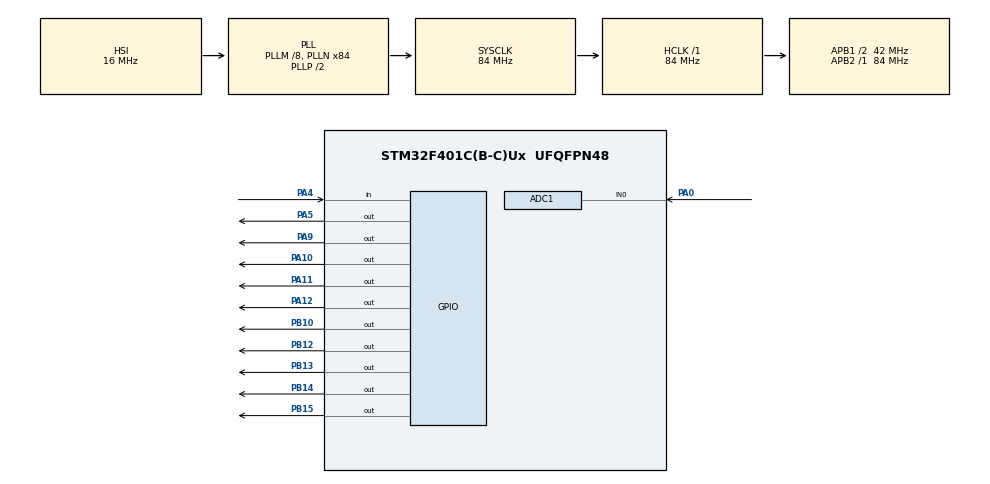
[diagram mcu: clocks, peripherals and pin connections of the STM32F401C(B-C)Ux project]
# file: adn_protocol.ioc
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ADC1.Channel-0\#ChannelRegularConversion=ADC_CHANNEL_0
ADC1.ContinuousConvMode=ENABLE
ADC1.NbrOfConversion=1
ADC1.NbrOfConversionFlag=1
ADC1.Rank-0\#ChannelRegularConversion=1
ADC1.SamplingTime-0\#ChannelRegularConversion=ADC_SAMPLETIME_15CYCLES
ADC1.master=1
Dma.ADC1.0.Direction=DMA_PERIPH_TO_MEMORY
Dma.ADC1.0.FIFOMode=DMA_FIFOMODE_DISABLE
Dma.ADC1.0.Instance=DMA2_Stream0
Dma.ADC1.0.MemDataAlignment=DMA_MDATAALIGN_HALFWORD
Dma.ADC1.0.MemInc=DMA_MINC_ENABLE
Dma.ADC1.0.Mode=DMA_NORMAL
Dma.ADC1.0.PeriphDataAlignment=DMA_PDATAALIGN_HALFWORD
Dma.ADC1.0.PeriphInc=DMA_PINC_DISABLE
Dma.ADC1.0.Priority=DMA_PRIORITY_VERY_HIGH
Dma.Request0=ADC1
Mcu.Family=STM32F4
Mcu.Name=STM32F401C(B-C)Ux
Mcu.Package=UFQFPN48
NVIC.DMA2_Stream0_IRQn=true\:0\:0\:false\:false\:true\:false\:true\:true
NVIC.PriorityGroup=NVIC_PRIORITYGROUP_4
PA0-WKUP.Signal=ADCx_IN0
PA10.Signal=GPIO_Output
PA11.Signal=GPIO_Output
PA12.Signal=GPIO_Output
PA4.Signal=GPIO_Input
PA5.Signal=GPIO_Output
PA9.Signal=GPIO_Output
PB10.Signal=GPIO_Output
PB12.Signal=GPIO_Output
PB13.Signal=GPIO_Output
PB14.Signal=GPIO_Output
PB15.Signal=GPIO_Output
ProjectManager.HeapSize=0x200
ProjectManager.StackSize=0x400
ProjectManager.TargetToolchain=STM32CubeIDE
RCC.48MHZClocksFreq_Value=42000000
RCC.AHBFreq_Value=84000000
RCC.APB1CLKDivider=RCC_HCLK_DIV2
RCC.APB1Freq_Value=42000000
RCC.APB1TimFreq_Value=84000000
RCC.APB2Freq_Value=84000000
RCC.APB2TimFreq_Value=84000000
RCC.CortexFreq_Value=84000000
RCC.HCLKFreq_Value=84000000
RCC.HSE_VALUE=25000000
RCC.HSI_VALUE=16000000
RCC.LSE_VALUE=32768
RCC.PLLM=8
RCC.PLLN=84
RCC.SYSCLKFreq_VALUE=84000000
RCC.SYSCLKSource=RCC_SYSCLKSOURCE_PLLCLK
RCC.VCOOutputFreq_Value=168000000
SH.ADCx_IN0.0=ADC1_IN0,IN0
board=custom

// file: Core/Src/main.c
/* USER CODE BEGIN Header */
/**
  ******************************************************************************
  * @file           : main.c
  * @brief          : Main program body
  ******************************************************************************
  * @attention
  *
  * Copyright (c) 2025 STMicroelectronics.
  * All rights reserved.
  *
  * This software is licensed under terms that can be found in the LICENSE file
  * in the root directory of this software component.
  * If no LICENSE file comes with this software, it is provided AS-IS.
  *
  ******************************************************************************
  */
/* USER CODE END Header */
#include "main.h"

ADC_HandleTypeDef hadc1;
DMA_HandleTypeDef hdma_adc1;

/* USER CODE BEGIN PV */
int state = 0;
#define GPIO_READ_PIN(GPIOx, pin) ((GPIOx->IDR & (pin)) ? GPIO_PIN_SET : GPIO_PIN_RESET)
/* USER CODE END PV */

void SystemClock_Config(void);
static void MX_GPIO_Init(void);
static void MX_DMA_Init(void);
static void MX_ADC1_Init(void);

/* USER CODE BEGIN 0 */

uint16_t counter = 0;
#define BUF_SIZE 16384
uint16_t adc_buffer[BUF_SIZE];

void GPIO_WritePin_BSRR(GPIO_TypeDef* GPIOx, uint16_t pin, GPIO_PinState state)
{
    if(state == GPIO_PIN_SET)
    {
        // Set pin high by writing to lower 16 bits of BSRR
        GPIOx->BSRR = pin;
    }
    else
    {
        // Set pin low by writing to upper 16 bits of BSRR
        GPIOx->BSRR = (uint32_t)pin << 16;
    }
}
void Parallel_Send_Byte(uint8_t data) {
  // Write each bit to corresponding pin
  while(GPIO_READ_PIN(GPIOA, GPIO_PIN_4)==GPIO_PIN_RESET){

  }

	  HAL_GPIO_WritePin(GPIOB, GPIO_PIN_12, (data & 0x01) ? GPIO_PIN_SET : GPIO_PIN_RESET);
	  HAL_GPIO_WritePin(GPIOB, GPIO_PIN_13, (data & 0x02) ? GPIO_PIN_SET : GPIO_PIN_RESET);
	  HAL_GPIO_WritePin(GPIOB, GPIO_PIN_14, (data & 0x04) ? GPIO_PIN_SET : GPIO_PIN_RESET);
	  HAL_GPIO_WritePin(GPIOB, GPIO_PIN_15, (data & 0x08) ? GPIO_PIN_SET : GPIO_PIN_RESET);
	  HAL_GPIO_WritePin(GPIOA, GPIO_PIN_9, (data & 0x10) ? GPIO_PIN_SET : GPIO_PIN_RESET);
	  HAL_GPIO_WritePin(GPIOA, GPIO_PIN_10, (data & 0x20) ? GPIO_PIN_SET : GPIO_PIN_RESET);
	  HAL_GPIO_WritePin(GPIOA, GPIO_PIN_11, (data & 0x40) ? GPIO_PIN_SET : GPIO_PIN_RESET);
	  HAL_GPIO_WritePin(GPIOA, GPIO_PIN_12, (data & 0x80) ? GPIO_PIN_SET : GPIO_PIN_RESET);
	  HAL_GPIO_WritePin(GPIOA, GPIO_PIN_5,SET);
	  while(GPIO_READ_PIN(GPIOA, GPIO_PIN_4)==GPIO_PIN_SET){}
	  HAL_GPIO_WritePin(GPIOA, GPIO_PIN_5,RESET);

}
void send16(uint16_t data){
	HAL_GPIO_WritePin(GPIOB, GPIO_PIN_10, SET);
	Parallel_Send_Byte(data>>8);
	HAL_GPIO_WritePin(GPIOB, GPIO_PIN_10, RESET);
	Parallel_Send_Byte(data);
}

void HAL_ADC_ConvCpltCallback(ADC_HandleTypeDef* hadc) {
  if (hadc == &hadc1) {
	 for(int i =0; i < BUF_SIZE;i++){
		  send16(adc_buffer[i]);
	 }

	 HAL_ADC_Start_DMA(&hadc1, (uint32_t*)adc_buffer, BUF_SIZE);
  }
}
/* USER CODE END 0 */

int main(void)
{

  /* MCU Configuration--------------------------------------------------------*/

  /* Reset of all peripherals, Initializes the Flash interface and the Systick. */
  HAL_Init();

  /* Configure the system clock */
  SystemClock_Config();

  /* Initialize all configured peripherals */
  MX_GPIO_Init();
  MX_DMA_Init();
  MX_ADC1_Init();

  /* Infinite loop */
  /* USER CODE BEGIN WHILE */
  HAL_ADC_Start_DMA(&hadc1, (uint32_t*)adc_buffer, BUF_SIZE);

  while (1)
  {
    /* USER CODE END WHILE */

  }
}

void SystemClock_Config(void)
{
  RCC_OscInitTypeDef RCC_OscInitStruct = {0};
  RCC_ClkInitTypeDef RCC_ClkInitStruct = {0};

  /** Configure the main internal regulator output voltage
  */
  __HAL_RCC_PWR_CLK_ENABLE();
  __HAL_PWR_VOLTAGESCALING_CONFIG(PWR_REGULATOR_VOLTAGE_SCALE2);

  /** Initializes the RCC Oscillators according to the specified parameters
  * in the RCC_OscInitTypeDef structure.
  */
  RCC_OscInitStruct.OscillatorType = RCC_OSCILLATORTYPE_HSI;
  RCC_OscInitStruct.HSIState = RCC_HSI_ON;
  RCC_OscInitStruct.HSICalibrationValue = RCC_HSICALIBRATION_DEFAULT;
  RCC_OscInitStruct.PLL.PLLState = RCC_PLL_ON;
  RCC_OscInitStruct.PLL.PLLSource = RCC_PLLSOURCE_HSI;
  RCC_OscInitStruct.PLL.PLLM = 8;
  RCC_OscInitStruct.PLL.PLLN = 84;
  RCC_OscInitStruct.PLL.PLLP = RCC_PLLP_DIV2;
  RCC_OscInitStruct.PLL.PLLQ = 4;
  if (HAL_RCC_OscConfig(&RCC_OscInitStruct) != HAL_OK)
  {
    Error_Handler();
  }

  /** Initializes the CPU, AHB and APB buses clocks
  */
  RCC_ClkInitStruct.ClockType = RCC_CLOCKTYPE_HCLK|RCC_CLOCKTYPE_SYSCLK
                              |RCC_CLOCKTYPE_PCLK1|RCC_CLOCKTYPE_PCLK2;
  RCC_ClkInitStruct.SYSCLKSource = RCC_SYSCLKSOURCE_PLLCLK;
  RCC_ClkInitStruct.AHBCLKDivider = RCC_SYSCLK_DIV1;
  RCC_ClkInitStruct.APB1CLKDivider = RCC_HCLK_DIV2;
  RCC_ClkInitStruct.APB2CLKDivider = RCC_HCLK_DIV1;

  if (HAL_RCC_ClockConfig(&RCC_ClkInitStruct, FLASH_LATENCY_2) != HAL_OK)
  {
    Error_Handler();
  }
}

static void MX_ADC1_Init(void)
{

  ADC_ChannelConfTypeDef sConfig = {0};

  /** Configure the global features of the ADC (Clock, Resolution, Data Alignment and number of conversion)
  */
  hadc1.Instance = ADC1;
  hadc1.Init.ClockPrescaler = ADC_CLOCK_SYNC_PCLK_DIV4;
  hadc1.Init.Resolution = ADC_RESOLUTION_12B;
  hadc1.Init.ScanConvMode = DISABLE;
  hadc1.Init.ContinuousConvMode = ENABLE;
  hadc1.Init.DiscontinuousConvMode = DISABLE;
  hadc1.Init.ExternalTrigConvEdge = ADC_EXTERNALTRIGCONVEDGE_NONE;
  hadc1.Init.ExternalTrigConv = ADC_SOFTWARE_START;
  hadc1.Init.DataAlign = ADC_DATAALIGN_RIGHT;
  hadc1.Init.NbrOfConversion = 1;
  hadc1.Init.DMAContinuousRequests = DISABLE;
  hadc1.Init.EOCSelection = ADC_EOC_SINGLE_CONV;
  if (HAL_ADC_Init(&hadc1) != HAL_OK)
  {
    Error_Handler();
  }

  /** Configure for the selected ADC regular channel its corresponding rank in the sequencer and its sample time.
  */
  sConfig.Channel = ADC_CHANNEL_0;
  sConfig.Rank = 1;
  sConfig.SamplingTime = ADC_SAMPLETIME_15CYCLES;
  if (HAL_ADC_ConfigChannel(&hadc1, &sConfig) != HAL_OK)
  {
    Error_Handler();
  }

}

static void MX_DMA_Init(void)
{

  /* DMA controller clock enable */
  __HAL_RCC_DMA2_CLK_ENABLE();

  /* DMA interrupt init */
  /* DMA2_Stream0_IRQn interrupt configuration */
  HAL_NVIC_SetPriority(DMA2_Stream0_IRQn, 0, 0);
  HAL_NVIC_EnableIRQ(DMA2_Stream0_IRQn);

}

static void MX_GPIO_Init(void)
{
  GPIO_InitTypeDef GPIO_InitStruct = {0};

  /* GPIO Ports Clock Enable */
  __HAL_RCC_GPIOA_CLK_ENABLE();
  __HAL_RCC_GPIOB_CLK_ENABLE();

  /*Configure GPIO pin Output Level */
  HAL_GPIO_WritePin(GPIOA, GPIO_PIN_5|GPIO_PIN_9|GPIO_PIN_10|GPIO_PIN_11
                          |GPIO_PIN_12, GPIO_PIN_RESET);

  /*Configure GPIO pin Output Level */
  HAL_GPIO_WritePin(GPIOB, GPIO_PIN_10|GPIO_PIN_12|GPIO_PIN_13|GPIO_PIN_14
                          |GPIO_PIN_15, GPIO_PIN_RESET);

  /*Configure GPIO pin : PA4 */
  GPIO_InitStruct.Pin = GPIO_PIN_4;
  GPIO_InitStruct.Mode = GPIO_MODE_INPUT;
  GPIO_InitStruct.Pull = GPIO_NOPULL;
  HAL_GPIO_Init(GPIOA, &GPIO_InitStruct);

  /*Configure GPIO pins : PA5 PA9 PA10 PA11
                           PA12 */
  GPIO_InitStruct.Pin = GPIO_PIN_5|GPIO_PIN_9|GPIO_PIN_10|GPIO_PIN_11
                          |GPIO_PIN_12;
  GPIO_InitStruct.Mode = GPIO_MODE_OUTPUT_PP;
  GPIO_InitStruct.Pull = GPIO_NOPULL;
  GPIO_InitStruct.Speed = GPIO_SPEED_FREQ_LOW;
  HAL_GPIO_Init(GPIOA, &GPIO_InitStruct);

  /*Configure GPIO pins : PB10 PB12 PB13 PB14
                           PB15 */
  GPIO_InitStruct.Pin = GPIO_PIN_10|GPIO_PIN_12|GPIO_PIN_13|GPIO_PIN_14
                          |GPIO_PIN_15;
  GPIO_InitStruct.Mode = GPIO_MODE_OUTPUT_PP;
  GPIO_InitStruct.Pull = GPIO_NOPULL;
  GPIO_InitStruct.Speed = GPIO_SPEED_FREQ_LOW;
  HAL_GPIO_Init(GPIOB, &GPIO_InitStruct);

}

void Error_Handler(void)
{
  __disable_irq();
  while (1)
  {
  }
}
